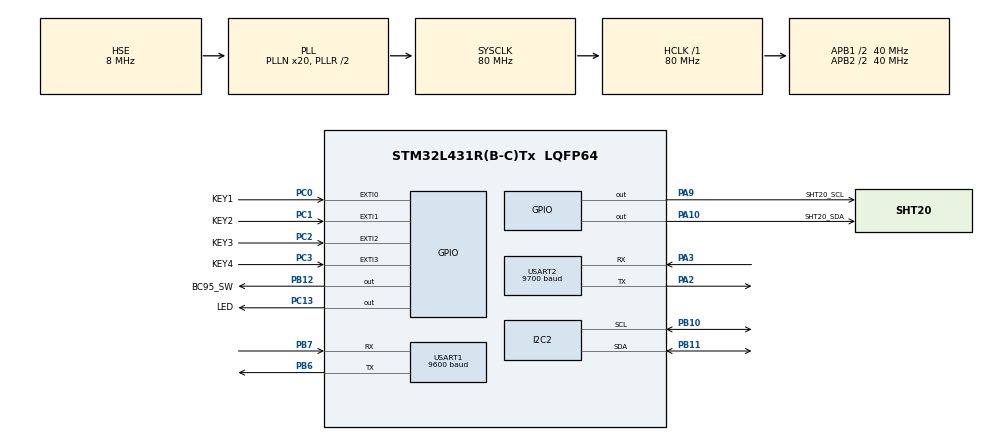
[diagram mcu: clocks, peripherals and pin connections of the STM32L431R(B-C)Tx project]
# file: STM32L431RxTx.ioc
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I2C2.Analog_Filter=I2C_ANALOGFILTER_DISABLE
I2C2.Timing=0x00909DED
Mcu.Family=STM32L4
Mcu.Name=STM32L431R(B-C)Tx
Mcu.Package=LQFP64
NVIC.EXTI0_IRQn=true\:4\:0\:true\:false\:true\:true
NVIC.EXTI1_IRQn=true\:5\:0\:true\:false\:true\:true
NVIC.EXTI2_IRQn=true\:6\:0\:true\:false\:true\:true
NVIC.EXTI3_IRQn=true\:7\:0\:true\:false\:true\:true
NVIC.PriorityGroup=NVIC_PRIORITYGROUP_4
NVIC.USART1_IRQn=true\:0\:0\:false\:false\:true\:true
NVIC.USART2_IRQn=true\:0\:0\:false\:false\:true\:true
PA10.GPIO_Label=SHT20_SDA
PA10.GPIO_ModeDefaultOutputPP=GPIO_MODE_OUTPUT_OD
PA10.Signal=GPIO_Output
PA13\ (JTMS-SWDIO).Mode=Serial_Wire
PA13\ (JTMS-SWDIO).Signal=SYS_JTMS-SWDIO
PA14\ (JTCK-SWCLK).Mode=Serial_Wire
PA14\ (JTCK-SWCLK).Signal=SYS_JTCK-SWCLK
PA2.Mode=Asynchronous
PA2.Signal=USART2_TX
PA3.Mode=Asynchronous
PA3.Signal=USART2_RX
PA9.GPIO_Label=SHT20_SCL
PA9.GPIO_ModeDefaultOutputPP=GPIO_MODE_OUTPUT_OD
PA9.Signal=GPIO_Output
PB10.GPIO_PuPdOD=GPIO_PULLUP
PB10.GPIO_Speed=GPIO_SPEED_FREQ_VERY_HIGH
PB10.Mode=I2C
PB10.Signal=I2C2_SCL
PB11.GPIO_PuPdOD=GPIO_PULLUP
PB11.GPIO_Speed=GPIO_SPEED_FREQ_VERY_HIGH
PB11.Mode=I2C
PB11.Signal=I2C2_SDA
PB12.GPIO_Label=BC95_SW
PB12.Signal=GPIO_Output
PB6.Mode=Asynchronous
PB6.Signal=USART1_TX
PB7.Mode=Asynchronous
PB7.Signal=USART1_RX
PC0.GPIO_Label=KEY1
PC0.GPIO_ModeDefaultEXTI=GPIO_MODE_IT_FALLING
PC0.GPIO_PuPd=GPIO_PULLUP
PC0.Signal=GPXTI0
PC1.GPIO_Label=KEY2
PC1.GPIO_ModeDefaultEXTI=GPIO_MODE_IT_FALLING
PC1.GPIO_PuPd=GPIO_PULLUP
PC1.Signal=GPXTI1
PC13.GPIO_Label=LED
PC13.Signal=GPIO_Output
PC14-OSC32_IN\ (PC14).Mode=LSE-External-Oscillator
PC14-OSC32_IN\ (PC14).Signal=RCC_OSC32_IN
PC15-OSC32_OUT\ (PC15).Mode=LSE-External-Oscillator
PC15-OSC32_OUT\ (PC15).Signal=RCC_OSC32_OUT
PC2.GPIO_Label=KEY3
PC2.GPIO_ModeDefaultEXTI=GPIO_MODE_IT_FALLING
PC2.GPIO_PuPd=GPIO_PULLUP
PC2.Signal=GPXTI2
PC3.GPIO_Label=KEY4
PC3.GPIO_ModeDefaultEXTI=GPIO_MODE_IT_FALLING
PC3.GPIO_PuPd=GPIO_PULLUP
PC3.Signal=GPXTI3
PH0-OSC_IN\ (PH0).Mode=HSE-External-Oscillator
PH0-OSC_IN\ (PH0).Signal=RCC_OSC_IN
PH1-OSC_OUT\ (PH1).Mode=HSE-External-Oscillator
PH1-OSC_OUT\ (PH1).Signal=RCC_OSC_OUT
ProjectManager.HeapSize=0x200
ProjectManager.StackSize=0x400
ProjectManager.TargetToolchain=MDK-ARM V5
RCC.ADCFreq_Value=32000000
RCC.AHBFreq_Value=80000000
RCC.APB1CLKDivider=RCC_HCLK_DIV2
RCC.APB1Freq_Value=40000000
RCC.APB1TimFreq_Value=80000000
RCC.APB2CLKDivider=RCC_HCLK_DIV2
RCC.APB2Freq_Value=40000000
RCC.APB2TimFreq_Value=80000000
RCC.CortexFreq_Value=80000000
RCC.HCLKFreq_Value=80000000
RCC.HSE_VALUE=8000000
RCC.HSI48_VALUE=48000000
RCC.HSI_VALUE=16000000
RCC.MSI_VALUE=4000000
RCC.PLLN=20
RCC.PLLSourceVirtual=RCC_PLLSOURCE_HSE
RCC.SYSCLKFreq_VALUE=80000000
RCC.SYSCLKSource=RCC_SYSCLKSOURCE_PLLCLK
RCC.VCOOutputFreq_Value=160000000
USART1.BaudRate=9600
USART1.VirtualMode-Asynchronous=VM_ASYNC
USART1.WordLength=WORDLENGTH_8B
USART2.AutoBaudRateEnableParam=UART_ADVFEATURE_AUTOBAUDRATE_DISABLE
USART2.BaudRate=9700
USART2.VirtualMode-Asynchronous=VM_ASYNC
USART2.WordLength=WORDLENGTH_8B
board=STM32L431RxTx

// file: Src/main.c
/**
  ******************************************************************************
  * File Name          : main.c
  * Description        : Main program body
  ******************************************************************************
  ** This notice applies to any and all portions of this file
  * that are not between comment pairs USER CODE BEGIN and
  * USER CODE END. Other portions of this file, whether
  * inserted by the user or by software development tools
  * are owned by their respective copyright owners.
  *
  * COPYRIGHT(c) 2017 STMicroelectronics
  *
  * Redistribution and use in source and binary forms, with or without modification,
  * are permitted provided that the following conditions are met:
  *   1. Redistributions of source code must retain the above copyright notice,
  *      this list of conditions and the following disclaimer.
  *   2. Redistributions in binary form must reproduce the above copyright notice,
  *      this list of conditions and the following disclaimer in the documentation
  *      and/or other materials provided with the distribution.
  *   3. Neither the name of STMicroelectronics nor the names of its contributors
  *      may be used to endorse or promote products derived from this software
  *      without specific prior written permission.
  *
  * THIS SOFTWARE IS PROVIDED BY THE COPYRIGHT HOLDERS AND CONTRIBUTORS "AS IS"
  * AND ANY EXPRESS OR IMPLIED WARRANTIES, INCLUDING, BUT NOT LIMITED TO, THE
  * IMPLIED WARRANTIES OF MERCHANTABILITY AND FITNESS FOR A PARTICULAR PURPOSE ARE
  * DISCLAIMED. IN NO EVENT SHALL THE COPYRIGHT HOLDER OR CONTRIBUTORS BE LIABLE
  * FOR ANY DIRECT, INDIRECT, INCIDENTAL, SPECIAL, EXEMPLARY, OR CONSEQUENTIAL
  * DAMAGES (INCLUDING, BUT NOT LIMITED TO, PROCUREMENT OF SUBSTITUTE GOODS OR
  * SERVICES; LOSS OF USE, DATA, OR PROFITS; OR BUSINESS INTERRUPTION) HOWEVER
  * CAUSED AND ON ANY THEORY OF LIABILITY, WHETHER IN CONTRACT, STRICT LIABILITY,
  * OR TORT (INCLUDING NEGLIGENCE OR OTHERWISE) ARISING IN ANY WAY OUT OF THE USE
  * OF THIS SOFTWARE, EVEN IF ADVISED OF THE POSSIBILITY OF SUCH DAMAGE.
  *
  ******************************************************************************
  */
#include "main.h"
#include "stm32l4xx_hal.h"
#include "i2c.h"
#include "usart.h"
#include "gpio.h"

/* USER CODE BEGIN Includes */
#include "u8g_arm.h"
#include "oled.h"
#include "bc95.h"
//#include "th_sensor.h"
#include "SHT20Drv.h"
#include "stdlib.h"
#include "stdio.h"
#include "BC95_CluB.h"

/* USER CODE END Includes */

/* USER CODE BEGIN PV */
/* Private variables ---------------------------------------------------------*/
	u8g_t u8g;
	//extern SHT20MeasureDef SHT20Measure;
	msg_for_oled_show	msg_oled_show={0};
	msg_sys_type bc95_net_data = {0};
	int i = 0;
	uint8_t state = 0;
	uint8_t Rcv_buffer[1024] = {0};
	uint8_t Rcv_buff;
	uint8_t flag=0;
	uint8_t Send_buffer[]= "hello from \r\n";
	char *oledshow = NULL;
	enum NOW_PAGE{
		PAGE_MAIN = 0,
		PAGE_NET,
		PAGE_SHT20,
		PAGE_UDP_TEST
	};

	uint8_t now_page = 0;
/* USER CODE END PV */

void SystemClock_Config(void);

/* USER CODE BEGIN PFP */
/* Private function prototypes -----------------------------------------------*/

/* USER CODE END PFP */

/* USER CODE BEGIN 0 */
void draw(void)
{
	//OLED_Show_Page2();
	switch(flag)
	{
		case 1:
			OLED_Show_a_Page(1);
			break;
		case 2:
			OLED_Show_a_Page(2);
			break;
		case 3:
			OLED_Show_a_Page(3);
			break;
		default:
			OLED_Show_Page1();
		  break;
	}
}
//void OLED_Show_Network_Status(void)
//{
//	printf("scq:%d\r\n",bc95_get_scq());
//	sprintf(oledshow, "SCQ:%d", bc95_get_scq());
//	u8g_DrawStr(&u8g, 25, 28, oledshow);
//	bc95_get_time();
//}
char * double_to_string(double value)
{
	char *strings;
//	int dec,sign;
//	int ndig = 10;
//	clrscr();
//	strings = ecvt(value,ndig,&dec,&sign);
	sprintf(strings,"%lf",value);
	return strings;
}
/* USER CODE END 0 */
int main(void)
{

	/* MCU Configuration----------------------------------------------------------*/

	/* Reset of all peripherals, Initializes the Flash interface and the Systick. */
	HAL_Init();

	/* Configure the system clock */
	SystemClock_Config();

	/* Initialize all configured peripherals */
	MX_GPIO_Init();
	MX_I2C2_Init();
	MX_USART2_UART_Init();
	MX_USART1_UART_Init();
  SHT20Init();
	/* USER CODE BEGIN 2 */

	//Init
	u8g_InitComFn(&u8g, &u8g_dev_ssd1306_128x32_i2c, u8g_com_hw_i2c_fn); //here we init our u8glib driver
	//Open dervies
	HAL_GPIO_WritePin(GPIOB, GPIO_PIN_12, GPIO_PIN_SET);
	HAL_GPIO_WritePin(GPIOB, GPIO_PIN_12, GPIO_PIN_RESET);
	HAL_Delay(5000);
	//msg_oled_show.HUMI_for_show=0;

	do{
		i = CLUB_AT_QUERY(AT_COM_Test);
	}while(i != 1);
CLUB_AT_QUERY( AT_COM_NSOCL );
CLUB_AT_QUERY( AT_COM_NSOCR );
	/* USER CODE END 2 */

	/* Infinite loop */
	while (1)
	{

		/* USER CODE BEGIN 3 */

		u8g_FirstPage(&u8g);
		do{
			draw();
		}while(u8g_NextPage(&u8g));
		//SHT20Process();
//		msg_oled_show.HUMI_for_show = "27.88";//double_to_string(SHT20Measure.HUMI);
//		msg_oled_show.TEMP_for_show = "56.78";//double_to_string(SHT20Measure.TEMP);

		switch(flag)
		{
			case 1:
			{
				CLUB_AT_Custom( AT_COM_Custom_CSQ );
				CLUB_AT_Custom( AT_COM_Custom_TIME );
				break;
			}
			case 2:
			{
				SHT20Process();
				sprintf(msg_oled_show.HUMI_for_show, "%.1f", SHT20Measure.HUMI);
				sprintf(msg_oled_show.TEMP_for_show, "%.1f", SHT20Measure.TEMP);
				break;
			}
			case 3:
			{
				CLUB_AT_QUERY( AT_COM_NSOST );
				HAL_Delay(1000);
			   CLUB_AT_Custom( AT_COM_Custom_NSORF );
				bc95_hexstr_to_byte(bc95_net_data.net_nsorf, bc95_net_data.net_nsorf_str, 30);
				CLUB_AT_Custom( AT_COM_Custom_TIME );
				break;
			}
			case 4:
			{
				CLUB_AT_QUERY( AT_COM_NCDP );
				CLUB_AT_QUERY( AT_COM_NMGS );
				break;
			}
			default:
				break;
		}

	}
  /* USER CODE END 3 */
}

/** System Clock Configuration
*/
void SystemClock_Config(void)
{

  RCC_OscInitTypeDef RCC_OscInitStruct;
  RCC_ClkInitTypeDef RCC_ClkInitStruct;
  RCC_PeriphCLKInitTypeDef PeriphClkInit;

    /**Initializes the CPU, AHB and APB busses clocks
    */
  RCC_OscInitStruct.OscillatorType = RCC_OSCILLATORTYPE_HSE;
  RCC_OscInitStruct.HSEState = RCC_HSE_ON;
  RCC_OscInitStruct.PLL.PLLState = RCC_PLL_ON;
  RCC_OscInitStruct.PLL.PLLSource = RCC_PLLSOURCE_HSE;
  RCC_OscInitStruct.PLL.PLLN = 20;
  RCC_OscInitStruct.PLL.PLLP = RCC_PLLP_DIV7;
  RCC_OscInitStruct.PLL.PLLQ = RCC_PLLQ_DIV2;
  RCC_OscInitStruct.PLL.PLLR = RCC_PLLR_DIV2;
  if (HAL_RCC_OscConfig(&RCC_OscInitStruct) != HAL_OK)
  {
    _Error_Handler(__FILE__, __LINE__);
  }

    /**Initializes the CPU, AHB and APB busses clocks
    */
  RCC_ClkInitStruct.ClockType = RCC_CLOCKTYPE_HCLK|RCC_CLOCKTYPE_SYSCLK
                              |RCC_CLOCKTYPE_PCLK1|RCC_CLOCKTYPE_PCLK2;
  RCC_ClkInitStruct.SYSCLKSource = RCC_SYSCLKSOURCE_PLLCLK;
  RCC_ClkInitStruct.AHBCLKDivider = RCC_SYSCLK_DIV1;
  RCC_ClkInitStruct.APB1CLKDivider = RCC_HCLK_DIV2;
  RCC_ClkInitStruct.APB2CLKDivider = RCC_HCLK_DIV2;

  if (HAL_RCC_ClockConfig(&RCC_ClkInitStruct, FLASH_LATENCY_4) != HAL_OK)
  {
    _Error_Handler(__FILE__, __LINE__);
  }

  PeriphClkInit.PeriphClockSelection = RCC_PERIPHCLK_USART1|RCC_PERIPHCLK_USART2
                              |RCC_PERIPHCLK_I2C2;
  PeriphClkInit.Usart1ClockSelection = RCC_USART1CLKSOURCE_PCLK2;
  PeriphClkInit.Usart2ClockSelection = RCC_USART2CLKSOURCE_PCLK1;
  PeriphClkInit.I2c2ClockSelection = RCC_I2C2CLKSOURCE_PCLK1;
  if (HAL_RCCEx_PeriphCLKConfig(&PeriphClkInit) != HAL_OK)
  {
    _Error_Handler(__FILE__, __LINE__);
  }

    /**Configure the main internal regulator output voltage
    */
  if (HAL_PWREx_ControlVoltageScaling(PWR_REGULATOR_VOLTAGE_SCALE1) != HAL_OK)
  {
    _Error_Handler(__FILE__, __LINE__);
  }

    /**Configure the Systick interrupt time
    */
  HAL_SYSTICK_Config(HAL_RCC_GetHCLKFreq()/1000);

    /**Configure the Systick
    */
  HAL_SYSTICK_CLKSourceConfig(SYSTICK_CLKSOURCE_HCLK);

  /* SysTick_IRQn interrupt configuration */
  HAL_NVIC_SetPriority(SysTick_IRQn, 0, 0);
}

/* USER CODE BEGIN 4 */
void HAL_GPIO_EXTI_Callback(uint16_t GPIO_Pin)
{
 if(GPIO_Pin & GPIO_PIN_0){   //返回主页
	 //printf("F4\r\n");
	 flag=4;
 }
 if(GPIO_Pin & GPIO_PIN_1){    //数据发送
	 //printf("F3\r\n");
	 flag=3;

 }
 if(GPIO_Pin & GPIO_PIN_2){  //温湿度
	 //printf("F2\r\n");
	 flag=2;
 }
 if(GPIO_Pin & GPIO_PIN_3){   //网络状态
	 //printf("F1\r\n");
	 flag=1;
 }

}
/* USER CODE END 4 */

void _Error_Handler(char * file, int line)
{
  while(1)
  {
  }
}

/************************ (C) COPYRIGHT STMicroelectronics *****END OF FILE****/
